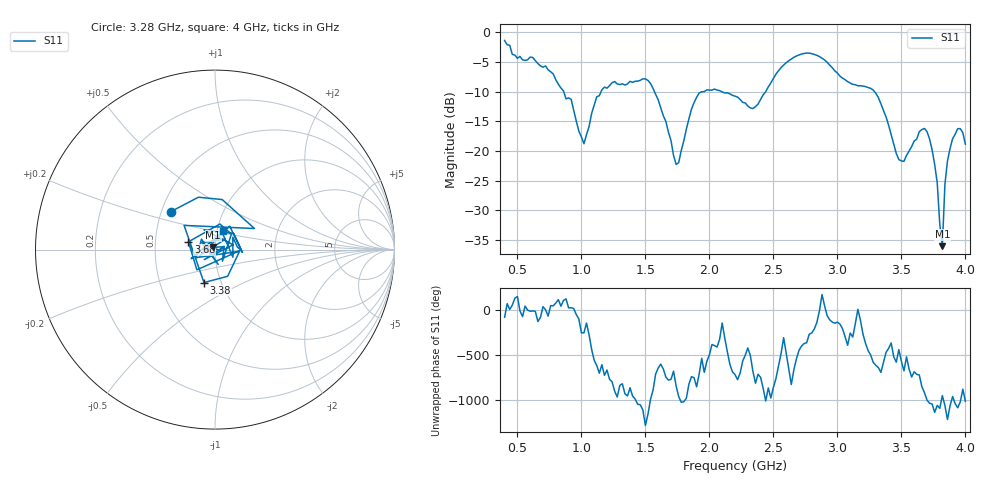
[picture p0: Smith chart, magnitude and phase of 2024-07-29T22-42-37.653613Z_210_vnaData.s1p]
!Created with skrf (http://scikit-rf.org).
# Hz S RI R 50.0
!freq ReS11 ImS11
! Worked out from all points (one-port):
!   181 points, 400 MHz to 4 GHz, reference 50 ohm
!   lowest |S11| = -36.1 dB at 3.82 GHz (marker M1), VSWR 1.03, Z = 49 + j1.2 ohm
!   |S11| at or under -10 dB: 1.57 GHz to 1.961 GHz (390.2 MHz wide, 22.1 % of centre); 2.094 GHz to 2.441 GHz (346.7 MHz wide, 15.3 % of centre); 3.289 GHz to end of sweep (the widest 3 of 4)
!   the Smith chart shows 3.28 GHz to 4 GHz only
!   S11 on the Smith chart (normalised r, x): 3.28 GHz: 0.56, +0.26; 3.38 GHz: 0.83, -0.32; 3.68 GHz: 0.74, +0.07; 4 GHz: 1.07, +0.23
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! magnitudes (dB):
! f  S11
! 400 MHz  -1.4
! 500 MHz  -4.4
! 720 MHz  -5.7
! 860 MHz  -9.9
! 920 MHz  -11.3
! 1.02 GHz  -18.8
! 1.12 GHz  -10.9
! 1.3 GHz  -8.8
! 1.54 GHz  -8.6
! 1.76 GHz  -22.0
! 1.86 GHz  -13.0
! 1.92 GHz  -10.2
! 2.2 GHz  -10.8
! 2.34 GHz  -12.9
! 2.66 GHz  -4.2
! 2.84 GHz  -3.9
! 3.1 GHz  -8.6
! 3.28 GHz  -9.8
! 3.38 GHz  -14.3
! 3.48 GHz  -21.5
! 3.56 GHz  -20.0
! 3.68 GHz  -16.2
! 3.76 GHz  -22.3
! 3.82 GHz  -36.1
! 3.84 GHz  -25.6
! 3.88 GHz  -19.6
! 3.94 GHz  -16.3
! 4 GHz  -18.9
